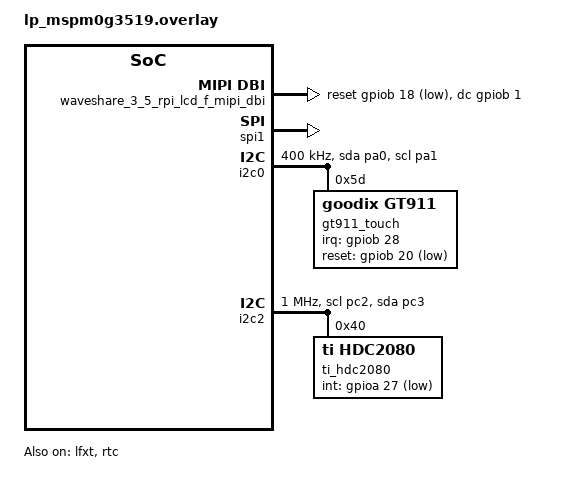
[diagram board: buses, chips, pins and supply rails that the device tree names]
/*
 * Copyright (c) 2026 Texas Instruments
 *
 * SPDX-License-Identifier: Apache-2.0
 */

#include <zephyr/dt-bindings/i2c/i2c.h>

/*
 * Waveshare 3.5" RPi LCD (F) on LP-MSPM0G3519.
 *
 * Display SPI (SPI1) uses PA17 (SCLK), PA18 (PICO), PA19 (POCI) — consistent
 * SPI1 group 2.  CS is PA21 (separate from reset).  DC is PB21.
 * Reset is PA16.
 *
 * Touch (GT911) on native I2C0: PA0=SDA / PA1=SCL with on-board 2.2k pull-ups.
 *
 * Sensor (HDC2080) on I2C2: PC2=SCL / PC3=SDA with on-board pull-ups.
 */

&waveshare_3_5_rpi_lcd_f_mipi_dbi {
	dc-gpios    = <&gpiob 1 GPIO_ACTIVE_HIGH>;
	reset-gpios = <&gpiob 18 GPIO_ACTIVE_LOW>;
	spi-dev     = <&spi1>;
};

&st7796s_display {
	mipi-max-frequency = <40000000>;
};

/ {
	// display_backlight: display-backlight {
	// 	compatible = "regulator-fixed";
	// 	regulator-name = "display-backlight";
	// 	enable-gpios = <&gpioa 16 GPIO_ACTIVE_HIGH>;
	// 	regulator-boot-on;
	// };
};

&dma {
	status = "okay";
};

&spi1 {
	status = "okay";
	/* DMA channel 0, SPI0 TX trigger = 13 (DMA_SPI0_TX_TRIG in mspm0g351x.h) */
	dmas = <&dma 0 15>;
	dma-names = "tx";
};

/*
 * GT911 on native I2C0 (PA0=SDA / PA1=SCL). This bus has the board's populated
 * 2.2k pull-ups (jumpers J16/J17). PB2/PB3 (i2c1) has no pull-ups and PB3 is
 * tied to the S2 button by J23, so i2c0 is used instead.
 */
&i2c0 {
	status = "okay";
	pinctrl-0 = <&i2c0_sda_pa0 &i2c0_scl_pa1>;
	pinctrl-names = "default";
	clock-frequency = <I2C_BITRATE_FAST>;

	gt911_touch: gt911@5d {
		compatible = "goodix,gt911";
		reg = <0x5d>;
		alt-addr = <0x14>;
		irq-gpios   = <&gpiob 28 GPIO_ACTIVE_HIGH>;
		reset-gpios = <&gpiob 20 GPIO_ACTIVE_LOW>;
		screen-width  = <320>;
		screen-height = <480>;
	};
};

&flash0 {
	reg = <0x0 DT_SIZE_K(512)>;
};

&sram0 {
	reg = <0x20200000 DT_SIZE_K(128)>;
};

/ {
	aliases {
		rtc = &rtc;
	};
};

/* Enable RTC with LFXT */
&lfxt {
	status = "okay";
};

&rtc {
	status = "okay";
};

/*
 * HDC2080 on I2C2 - PC2/PC3 with on-board pull-ups
 * PC2 = PINCM 76, function 2 (I2C2_SCL)
 * PC3 = PINCM 77, function 2 (I2C2_SDA)
 */
&i2c2 {
	status = "okay";
	pinctrl-0 = <&i2c2_scl_pc2 &i2c2_sda_pc3>;
	pinctrl-names = "default";
	clock-frequency = <1000000>;

	ti_hdc2080@40 {
		compatible = "ti,hdc2080";
		reg = <0x40>;
		int-gpios = <&gpioa 27 (GPIO_ACTIVE_LOW | GPIO_PULL_UP)>;
	};
};
